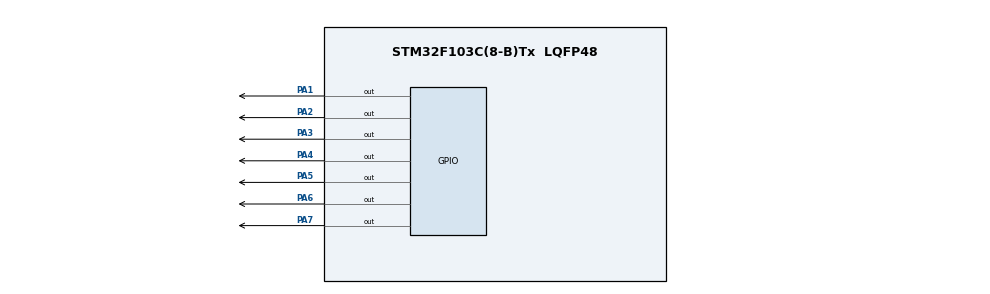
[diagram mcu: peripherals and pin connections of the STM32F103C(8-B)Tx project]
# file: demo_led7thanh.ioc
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Mcu.Family=STM32F1
Mcu.Name=STM32F103C(8-B)Tx
Mcu.Package=LQFP48
NVIC.PriorityGroup=NVIC_PRIORITYGROUP_4
PA1.Signal=GPIO_Output
PA2.Signal=GPIO_Output
PA3.Signal=GPIO_Output
PA4.Signal=GPIO_Output
PA5.Signal=GPIO_Output
PA6.Signal=GPIO_Output
PA7.Signal=GPIO_Output
ProjectManager.HeapSize=0x200
ProjectManager.StackSize=0x400
ProjectManager.TargetToolchain=STM32CubeIDE
RCC.APB1Freq_Value=8000000
RCC.APB2Freq_Value=8000000
VP_SYS_VS_ND.Mode=No_Debug
board=custom

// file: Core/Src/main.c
/* USER CODE BEGIN Header */
/**
  ******************************************************************************
  * @file           : main.c
  * @brief          : Main program body
  ******************************************************************************
  * @attention
  *
  * Copyright (c) 2025 STMicroelectronics.
  * All rights reserved.
  *
  * This software is licensed under terms that can be found in the LICENSE file
  * in the root directory of this software component.
  * If no LICENSE file comes with this software, it is provided AS-IS.
  *
  ******************************************************************************
  */
/* USER CODE END Header */
#include "main.h"

void SystemClock_Config(void);
static void MX_GPIO_Init(void);

/* USER CODE BEGIN 0 */
uint8_t led7Segment[10] = {
    0b0111111,
    0b0000110,
    0b1011011,
    0b1001111,
    0b1100110,
    0b1101101,
    0b1111101,
    0b0000111,
    0b1111111,
    0b1101111
};

// Hàm hiển thị số trên LED 7 thanh
void DisplayNumber(uint8_t number) {
    HAL_GPIO_WritePin(GPIOA, GPIO_PIN_1, (led7Segment[number] & 0x01) ? GPIO_PIN_SET : GPIO_PIN_RESET);
    HAL_GPIO_WritePin(GPIOA, GPIO_PIN_2, (led7Segment[number] & 0x02) ? GPIO_PIN_SET : GPIO_PIN_RESET);
    HAL_GPIO_WritePin(GPIOA, GPIO_PIN_3, (led7Segment[number] & 0x04) ? GPIO_PIN_SET : GPIO_PIN_RESET);
    HAL_GPIO_WritePin(GPIOA, GPIO_PIN_4, (led7Segment[number] & 0x08) ? GPIO_PIN_SET : GPIO_PIN_RESET);
    HAL_GPIO_WritePin(GPIOA, GPIO_PIN_5, (led7Segment[number] & 0x10) ? GPIO_PIN_SET : GPIO_PIN_RESET);
    HAL_GPIO_WritePin(GPIOA, GPIO_PIN_6, (led7Segment[number] & 0x20) ? GPIO_PIN_SET : GPIO_PIN_RESET);
    HAL_GPIO_WritePin(GPIOA, GPIO_PIN_7, (led7Segment[number] & 0x40) ? GPIO_PIN_SET : GPIO_PIN_RESET);
}
/* USER CODE END 0 */

int main(void)
{

  /* MCU Configuration--------------------------------------------------------*/

  /* Reset of all peripherals, Initializes the Flash interface and the Systick. */
  HAL_Init();

  /* Configure the system clock */
  SystemClock_Config();

  /* USER CODE BEGIN SysInit */
  uint8_t currentNumber = 0;
  /* USER CODE END SysInit */

  /* Initialize all configured peripherals */
  MX_GPIO_Init();

  /* Infinite loop */
  while (1)
  {

    /* USER CODE BEGIN 3 */
      DisplayNumber(currentNumber);

      currentNumber = (currentNumber + 1) % 10;

      HAL_Delay(1000);
  }
  /* USER CODE END 3 */
}

void SystemClock_Config(void)
{
  RCC_OscInitTypeDef RCC_OscInitStruct = {0};
  RCC_ClkInitTypeDef RCC_ClkInitStruct = {0};

  /** Initializes the RCC Oscillators according to the specified parameters
  * in the RCC_OscInitTypeDef structure.
  */
  RCC_OscInitStruct.OscillatorType = RCC_OSCILLATORTYPE_HSI;
  RCC_OscInitStruct.HSIState = RCC_HSI_ON;
  RCC_OscInitStruct.HSICalibrationValue = RCC_HSICALIBRATION_DEFAULT;
  RCC_OscInitStruct.PLL.PLLState = RCC_PLL_NONE;
  if (HAL_RCC_OscConfig(&RCC_OscInitStruct) != HAL_OK)
  {
    Error_Handler();
  }

  /** Initializes the CPU, AHB and APB buses clocks
  */
  RCC_ClkInitStruct.ClockType = RCC_CLOCKTYPE_HCLK|RCC_CLOCKTYPE_SYSCLK
                              |RCC_CLOCKTYPE_PCLK1|RCC_CLOCKTYPE_PCLK2;
  RCC_ClkInitStruct.SYSCLKSource = RCC_SYSCLKSOURCE_HSI;
  RCC_ClkInitStruct.AHBCLKDivider = RCC_SYSCLK_DIV1;
  RCC_ClkInitStruct.APB1CLKDivider = RCC_HCLK_DIV1;
  RCC_ClkInitStruct.APB2CLKDivider = RCC_HCLK_DIV1;

  if (HAL_RCC_ClockConfig(&RCC_ClkInitStruct, FLASH_LATENCY_0) != HAL_OK)
  {
    Error_Handler();
  }
}

static void MX_GPIO_Init(void)
{
  GPIO_InitTypeDef GPIO_InitStruct = {0};

  /* GPIO Ports Clock Enable */
  __HAL_RCC_GPIOA_CLK_ENABLE();

  /*Configure GPIO pin Output Level */
  HAL_GPIO_WritePin(GPIOA, GPIO_PIN_1|GPIO_PIN_2|GPIO_PIN_3|GPIO_PIN_4
                          |GPIO_PIN_5|GPIO_PIN_6|GPIO_PIN_7, GPIO_PIN_RESET);

  /*Configure GPIO pins : PA1 PA2 PA3 PA4
                           PA5 PA6 PA7 */
  GPIO_InitStruct.Pin = GPIO_PIN_1|GPIO_PIN_2|GPIO_PIN_3|GPIO_PIN_4
                          |GPIO_PIN_5|GPIO_PIN_6|GPIO_PIN_7;
  GPIO_InitStruct.Mode = GPIO_MODE_OUTPUT_PP;
  GPIO_InitStruct.Pull = GPIO_NOPULL;
  GPIO_InitStruct.Speed = GPIO_SPEED_FREQ_LOW;
  HAL_GPIO_Init(GPIOA, &GPIO_InitStruct);

}

void Error_Handler(void)
{
  __disable_irq();
  while (1)
  {
  }
}
